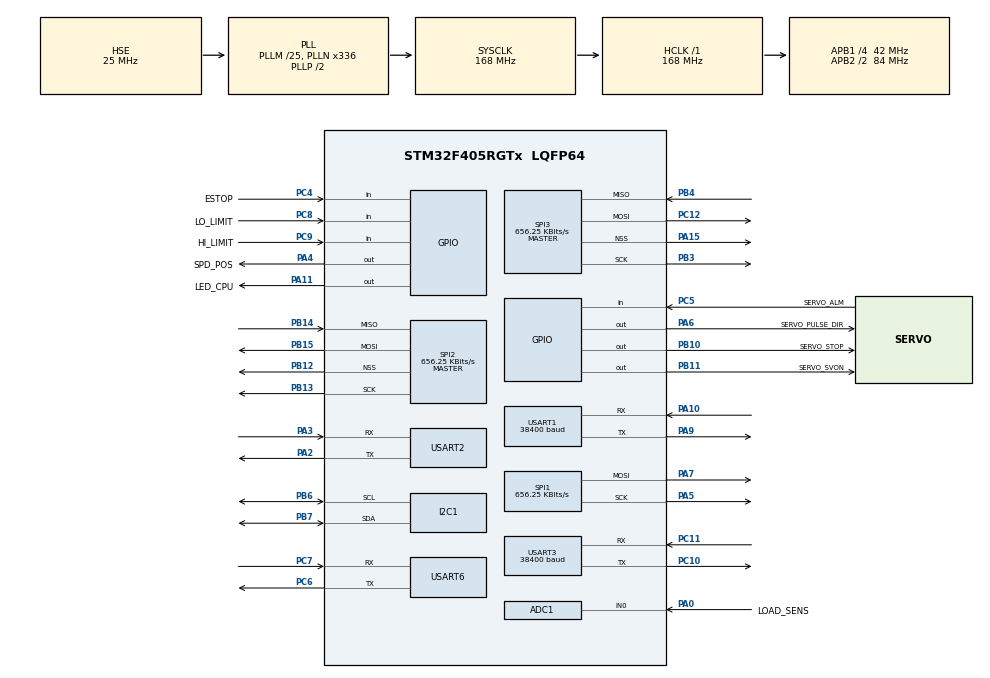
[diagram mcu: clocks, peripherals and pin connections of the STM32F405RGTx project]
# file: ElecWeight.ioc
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ADC1.Channel-100\#ChannelRegularConversion=ADC_CHANNEL_0
ADC1.Channel-101\#ChannelInjectedConversion=ADC_CHANNEL_0
ADC1.ClockPrescaler=ADC_CLOCK_SYNC_PCLK_DIV4
ADC1.ContinuousConvMode=ENABLE
ADC1.DMAContinuousRequests=DISABLE
ADC1.DataAlign=ADC_DATAALIGN_RIGHT
ADC1.DiscontinuousConvMode=DISABLE
ADC1.EOCSelection=ADC_EOC_SINGLE_CONV
ADC1.EnableAnalogWatchDog=false
ADC1.ExternalTrigConv=ADC_SOFTWARE_START
ADC1.ExternalTrigConvEdge=ADC_EXTERNALTRIGCONVEDGE_NONE
ADC1.ExternalTrigInjecConv=ADC_INJECTED_SOFTWARE_START
ADC1.ExternalTrigInjecConvEdge=ADC_EXTERNALTRIGINJECCONVEDGE_NONE
ADC1.InjNumberOfConversion=1
ADC1.InjectedConvMode=None
ADC1.InjectedOffset-101\#ChannelInjectedConversion=0
ADC1.NbrOfConversion=1
ADC1.NbrOfConversionFlag=1
ADC1.Rank-100\#ChannelRegularConversion=1
ADC1.Rank-101\#ChannelInjectedConversion=1
ADC1.Resolution=ADC_RESOLUTION_12B
ADC1.SamplingTime-100\#ChannelRegularConversion=ADC_SAMPLETIME_3CYCLES
ADC1.SamplingTime-101\#ChannelInjectedConversion=ADC_SAMPLETIME_3CYCLES
ADC1.ScanConvMode=ENABLE
ADC1.master=1
Dma.Request0=USART1_TX
Dma.Request1=USART2_TX
Dma.Request2=USART3_TX
Dma.Request3=SPI3_RX
Dma.Request4=SPI3_TX
Dma.SPI3_RX.3.Direction=DMA_PERIPH_TO_MEMORY
Dma.SPI3_RX.3.FIFOMode=DMA_FIFOMODE_DISABLE
Dma.SPI3_RX.3.Instance=DMA1_Stream0
Dma.SPI3_RX.3.MemDataAlignment=DMA_MDATAALIGN_BYTE
Dma.SPI3_RX.3.MemInc=DMA_MINC_ENABLE
Dma.SPI3_RX.3.Mode=DMA_NORMAL
Dma.SPI3_RX.3.PeriphDataAlignment=DMA_PDATAALIGN_BYTE
Dma.SPI3_RX.3.PeriphInc=DMA_PINC_DISABLE
Dma.SPI3_RX.3.Priority=DMA_PRIORITY_LOW
Dma.SPI3_TX.4.Direction=DMA_MEMORY_TO_PERIPH
Dma.SPI3_TX.4.FIFOMode=DMA_FIFOMODE_DISABLE
Dma.SPI3_TX.4.Instance=DMA1_Stream5
Dma.SPI3_TX.4.MemDataAlignment=DMA_MDATAALIGN_BYTE
Dma.SPI3_TX.4.MemInc=DMA_MINC_ENABLE
Dma.SPI3_TX.4.Mode=DMA_NORMAL
Dma.SPI3_TX.4.PeriphDataAlignment=DMA_PDATAALIGN_BYTE
Dma.SPI3_TX.4.PeriphInc=DMA_PINC_DISABLE
Dma.SPI3_TX.4.Priority=DMA_PRIORITY_LOW
Dma.USART1_TX.0.Direction=DMA_MEMORY_TO_PERIPH
Dma.USART1_TX.0.FIFOMode=DMA_FIFOMODE_DISABLE
Dma.USART1_TX.0.Instance=DMA2_Stream7
Dma.USART1_TX.0.MemDataAlignment=DMA_MDATAALIGN_BYTE
Dma.USART1_TX.0.MemInc=DMA_MINC_ENABLE
Dma.USART1_TX.0.Mode=DMA_NORMAL
Dma.USART1_TX.0.PeriphDataAlignment=DMA_PDATAALIGN_BYTE
Dma.USART1_TX.0.PeriphInc=DMA_PINC_DISABLE
Dma.USART1_TX.0.Priority=DMA_PRIORITY_LOW
Dma.USART2_TX.1.Direction=DMA_MEMORY_TO_PERIPH
Dma.USART2_TX.1.FIFOMode=DMA_FIFOMODE_DISABLE
Dma.USART2_TX.1.Instance=DMA1_Stream6
Dma.USART2_TX.1.MemDataAlignment=DMA_MDATAALIGN_BYTE
Dma.USART2_TX.1.MemInc=DMA_MINC_ENABLE
Dma.USART2_TX.1.Mode=DMA_NORMAL
Dma.USART2_TX.1.PeriphDataAlignment=DMA_PDATAALIGN_BYTE
Dma.USART2_TX.1.PeriphInc=DMA_PINC_DISABLE
Dma.USART2_TX.1.Priority=DMA_PRIORITY_LOW
Dma.USART3_TX.2.Direction=DMA_MEMORY_TO_PERIPH
Dma.USART3_TX.2.FIFOMode=DMA_FIFOMODE_DISABLE
Dma.USART3_TX.2.Instance=DMA1_Stream3
Dma.USART3_TX.2.MemDataAlignment=DMA_MDATAALIGN_BYTE
Dma.USART3_TX.2.MemInc=DMA_MINC_ENABLE
Dma.USART3_TX.2.Mode=DMA_NORMAL
Dma.USART3_TX.2.PeriphDataAlignment=DMA_PDATAALIGN_BYTE
Dma.USART3_TX.2.PeriphInc=DMA_PINC_DISABLE
Dma.USART3_TX.2.Priority=DMA_PRIORITY_LOW
Mcu.Family=STM32F4
Mcu.Name=STM32F405RGTx
Mcu.Package=LQFP64
Mcu.UserConstants=TIM_50USEC,50;TIM_1000USEC,1000;TIM_CLOCK,84
NVIC.ADC_IRQn=true\:3\:0\:true\:false\:true\:true
NVIC.DMA1_Stream0_IRQn=true\:0\:0\:false\:false\:true\:false
NVIC.DMA1_Stream3_IRQn=true\:0\:0\:false\:false\:true\:false
NVIC.DMA1_Stream5_IRQn=true\:0\:0\:false\:false\:true\:false
NVIC.DMA1_Stream6_IRQn=true\:0\:0\:false\:false\:true\:false
NVIC.DMA2_Stream7_IRQn=true\:0\:0\:false\:false\:true\:false
NVIC.PriorityGroup=NVIC_PRIORITYGROUP_4
NVIC.SPI2_IRQn=true\:3\:0\:true\:true\:true\:3\:true
NVIC.TIM2_IRQn=true\:2\:0\:true\:false\:true\:true
NVIC.TIM3_IRQn=true\:0\:0\:true\:false\:true\:true
NVIC.USART1_IRQn=true\:1\:0\:true\:true\:true\:2\:true
NVIC.USART2_IRQn=true\:1\:0\:true\:true\:true\:1\:true
PA0-WKUP.GPIO_Label=LOAD_SENS
PA0-WKUP.Signal=ADCx_IN0
PA10.Mode=Asynchronous
PA10.Signal=USART1_RX
PA11.GPIO_Label=LED_CPU
PA11.GPIO_ModeDefaultOutputPP=GPIO_MODE_OUTPUT_OD
PA11.Signal=GPIO_Output
PA13.Mode=Serial_Wire
PA13.Signal=SYS_JTMS-SWDIO
PA14.Mode=Serial_Wire
PA14.Signal=SYS_JTCK-SWCLK
PA15.GPIO_Speed=GPIO_SPEED_FREQ_LOW
PA15.Mode=NSS_Signal_Hard_Output
PA15.Signal=SPI3_NSS
PA2.Mode=Asynchronous
PA2.Signal=USART2_TX
PA3.Mode=Asynchronous
PA3.Signal=USART2_RX
PA4.GPIO_Label=SPD_POS
PA4.Signal=GPIO_Output
PA5.Mode=TX_Only_Simplex_Unidirect_Master
PA5.Signal=SPI1_SCK
PA6.GPIO_Label=SERVO_PULSE_DIR
PA6.Signal=GPIO_Output
PA7.Mode=TX_Only_Simplex_Unidirect_Master
PA7.Signal=SPI1_MOSI
PA9.Mode=Asynchronous
PA9.Signal=USART1_TX
PB10.GPIO_Label=SERVO_STOP
PB10.Signal=GPIO_Output
PB11.GPIO_Label=SERVO_SVON
PB11.Signal=GPIO_Output
PB12.GPIO_Speed=GPIO_SPEED_FREQ_LOW
PB12.Mode=NSS_Signal_Hard_Output
PB12.Signal=SPI2_NSS
PB13.GPIO_Speed=GPIO_SPEED_FREQ_LOW
PB13.Mode=Full_Duplex_Master
PB13.Signal=SPI2_SCK
PB14.GPIO_Speed=GPIO_SPEED_FREQ_LOW
PB14.Mode=Full_Duplex_Master
PB14.Signal=SPI2_MISO
PB15.GPIO_Speed=GPIO_SPEED_FREQ_LOW
PB15.Mode=Full_Duplex_Master
PB15.Signal=SPI2_MOSI
PB3.GPIO_Speed=GPIO_SPEED_FREQ_LOW
PB3.Mode=Full_Duplex_Master
PB3.Signal=SPI3_SCK
PB4.GPIO_Speed=GPIO_SPEED_FREQ_LOW
PB4.Mode=Full_Duplex_Master
PB4.Signal=SPI3_MISO
PB6.Mode=I2C
PB6.Signal=I2C1_SCL
PB7.Mode=I2C
PB7.Signal=I2C1_SDA
PC10.Mode=Asynchronous
PC10.Signal=USART3_TX
PC11.Mode=Asynchronous
PC11.Signal=USART3_RX
PC12.GPIO_Speed=GPIO_SPEED_FREQ_LOW
PC12.Mode=Full_Duplex_Master
PC12.Signal=SPI3_MOSI
PC4.GPIO_Label=ESTOP
PC4.Signal=GPIO_Input
PC5.GPIO_Label=SERVO_ALM
PC5.Signal=GPIO_Input
PC6.Mode=Asynchronous
PC6.Signal=USART6_TX
PC7.Mode=Asynchronous
PC7.Signal=USART6_RX
PC8.GPIO_Label=LO_LIMIT
PC8.Signal=GPIO_Input
PC9.GPIO_Label=HI_LIMIT
PC9.Signal=GPIO_Input
PH0-OSC_IN.Mode=HSE-External-Oscillator
PH0-OSC_IN.Signal=RCC_OSC_IN
PH1-OSC_OUT.Mode=HSE-External-Oscillator
PH1-OSC_OUT.Signal=RCC_OSC_OUT
ProjectManager.HeapSize=0x200
ProjectManager.StackSize=0x400
ProjectManager.TargetToolchain=EWARM
RCC.48MHZClocksFreq_Value=84000000
RCC.AHBFreq_Value=168000000
RCC.APB1CLKDivider=RCC_HCLK_DIV4
RCC.APB1Freq_Value=42000000
RCC.APB1TimFreq_Value=84000000
RCC.APB2CLKDivider=RCC_HCLK_DIV2
RCC.APB2Freq_Value=84000000
RCC.APB2TimFreq_Value=168000000
RCC.CortexFreq_Value=168000000
RCC.FLatency=FLASH_LATENCY_5
RCC.HCLKFreq_Value=168000000
RCC.HSE_VALUE=25000000
RCC.HSI_VALUE=16000000
RCC.LSE_VALUE=32768
RCC.PLLM=25
RCC.PLLN=336
RCC.PLLSourceVirtual=RCC_PLLSOURCE_HSE
RCC.RCC_MCO1Source=RCC_MCO1SOURCE_PLLCLK
RCC.RCC_MCO2Source=RCC_MCO2SOURCE_HSE
RCC.RCC_MCODiv1=RCC_MCODIV_2
RCC.RCC_MCODiv2=RCC_MCODIV_5
RCC.SYSCLKFreq_VALUE=168000000
RCC.SYSCLKSource=RCC_SYSCLKSOURCE_PLLCLK
RCC.VCOOutputFreq_Value=336000000
SH.ADCx_IN0.0=ADC1_IN0,IN0
SPI1.BaudRatePrescaler=SPI_BAUDRATEPRESCALER_128
SPI1.CalculateBaudRate=656.25 KBits/s
SPI1.DataSize=SPI_DATASIZE_16BIT
SPI1.Direction=SPI_DIRECTION_2LINES
SPI1.Mode=SPI_MODE_MASTER
SPI1.VirtualType=VM_MASTER
SPI2.BaudRatePrescaler=SPI_BAUDRATEPRESCALER_64
SPI2.CalculateBaudRate=656.25 KBits/s
SPI2.Direction=SPI_DIRECTION_2LINES
SPI2.Mode=SPI_MODE_MASTER
SPI2.VirtualNSS=VM_NSSHARD
SPI2.VirtualType=VM_MASTER
SPI3.BaudRatePrescaler=SPI_BAUDRATEPRESCALER_64
SPI3.CalculateBaudRate=656.25 KBits/s
SPI3.Direction=SPI_DIRECTION_2LINES
SPI3.Mode=SPI_MODE_MASTER
SPI3.VirtualNSS=VM_NSSHARD
SPI3.VirtualType=VM_MASTER
TIM2.Period=TIM_1000USEC-1
TIM2.Prescaler=TIM_CLOCK
TIM3.Period=TIM_50USEC-1
TIM3.Prescaler=TIM_CLOCK
USART1.BaudRate=38400
USART1.Mode=MODE_TX_RX
USART1.VirtualMode=VM_ASYNC
USART2.VirtualMode=VM_ASYNC
USART3.BaudRate=38400
USART3.Mode=MODE_TX
USART3.VirtualMode=VM_ASYNC
USART6.VirtualMode=VM_ASYNC
VP_IWDG_VS_IWDG.Mode=IWDG_Activate
VP_TIM2_VS_ClockSourceINT.Mode=Internal
VP_TIM3_VS_ClockSourceINT.Mode=Internal
board=ElecWeight

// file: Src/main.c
/**
  ******************************************************************************
  * File Name          : main.c
  * Description        : Main program body
  ******************************************************************************
  ** This notice applies to any and all portions of this file
  * that are not between comment pairs USER CODE BEGIN and
  * USER CODE END. Other portions of this file, whether
  * inserted by the user or by software development tools
  * are owned by their respective copyright owners.
  *
  * COPYRIGHT(c) 2018 STMicroelectronics
  *
  * Redistribution and use in source and binary forms, with or without modification,
  * are permitted provided that the following conditions are met:
  *   1. Redistributions of source code must retain the above copyright notice,
  *      this list of conditions and the following disclaimer.
  *   2. Redistributions in binary form must reproduce the above copyright notice,
  *      this list of conditions and the following disclaimer in the documentation
  *      and/or other materials provided with the distribution.
  *   3. Neither the name of STMicroelectronics nor the names of its contributors
  *      may be used to endorse or promote products derived from this software
  *      without specific prior written permission.
  *
  * THIS SOFTWARE IS PROVIDED BY THE COPYRIGHT HOLDERS AND CONTRIBUTORS "AS IS"
  * AND ANY EXPRESS OR IMPLIED WARRANTIES, INCLUDING, BUT NOT LIMITED TO, THE
  * IMPLIED WARRANTIES OF MERCHANTABILITY AND FITNESS FOR A PARTICULAR PURPOSE ARE
  * DISCLAIMED. IN NO EVENT SHALL THE COPYRIGHT HOLDER OR CONTRIBUTORS BE LIABLE
  * FOR ANY DIRECT, INDIRECT, INCIDENTAL, SPECIAL, EXEMPLARY, OR CONSEQUENTIAL
  * DAMAGES (INCLUDING, BUT NOT LIMITED TO, PROCUREMENT OF SUBSTITUTE GOODS OR
  * SERVICES; LOSS OF USE, DATA, OR PROFITS; OR BUSINESS INTERRUPTION) HOWEVER
  * CAUSED AND ON ANY THEORY OF LIABILITY, WHETHER IN CONTRACT, STRICT LIABILITY,
  * OR TORT (INCLUDING NEGLIGENCE OR OTHERWISE) ARISING IN ANY WAY OUT OF THE USE
  * OF THIS SOFTWARE, EVEN IF ADVISED OF THE POSSIBILITY OF SUCH DAMAGE.
  *
  ******************************************************************************
  */
#include "main.h"
#include "stm32f4xx_hal.h"

/* USER CODE BEGIN Includes */
#include "stdlib.h"
#include "limits.h"
#include "mydefs.h"
#include "comm_USART.h"
#include "IO_LIB.h"
#include "TIK_CON.h"
#include "Isokinetic.h"
#include "LoadSensor.h"
#include "PosSensor.h"
#include "ServoControl.H"
#include "DataConv.h"
#include "EQUIPMENT.H"
#include "commModbusRTU.h"

/* USER CODE END Includes */

ADC_HandleTypeDef hadc1;

I2C_HandleTypeDef hi2c1;

IWDG_HandleTypeDef hiwdg;

SPI_HandleTypeDef hspi1;
SPI_HandleTypeDef hspi2;
SPI_HandleTypeDef hspi3;
DMA_HandleTypeDef hdma_spi3_rx;
DMA_HandleTypeDef hdma_spi3_tx;

TIM_HandleTypeDef htim2;
TIM_HandleTypeDef htim3;

UART_HandleTypeDef huart1;
UART_HandleTypeDef huart2;
UART_HandleTypeDef huart3;
UART_HandleTypeDef huart6;
DMA_HandleTypeDef hdma_usart1_tx;
DMA_HandleTypeDef hdma_usart2_tx;
DMA_HandleTypeDef hdma_usart3_tx;

/* USER CODE BEGIN PV */
/* Private variables ---------------------------------------------------------*/
BOOL	fInt_Scheduler;
BOOL	f2msecTick;
BOOL	f5msecTick;
BOOL	f10msecTick;
BOOL	fLEDToggleTick;

BOOL	t50usecToggle;
BOOL	fForceCalcTick;
BOOL	fAdcConv;

BYTE b5msCnt;
int		iLEDTogglCnt = TIM_500MSEC;
int		iCPUTick1msecCnt;
BYTE Uart3_txBuff[7];
BYTE Spi2_txBuff[10];
BYTE Spi2_rxBuff[10];

UINT lPulseCnt;
BYTE tempData=4;
BYTE bAlmRstCnt;
int iUsart1IrqCnt;
BYTE bSpiData[2]={0x55,0x55};
//uint16_t ADCValue; //ADC Readings
static BYTE hyperBuffIndex;

/* USER CODE END PV */

void SystemClock_Config(void);
static void MX_GPIO_Init(void);
static void MX_DMA_Init(void);
static void MX_I2C1_Init(void);
static void MX_IWDG_Init(void);
static void MX_SPI1_Init(void);
static void MX_USART1_UART_Init(void);
static void MX_USART2_UART_Init(void);
static void MX_USART6_UART_Init(void);
static void MX_ADC1_Init(void);
static void MX_SPI2_Init(void);
static void MX_TIM2_Init(void);
static void MX_TIM3_Init(void);
static void MX_USART3_UART_Init(void);
static void MX_SPI3_Init(void);
static void MX_NVIC_Init(void);

/* USER CODE BEGIN PFP */
/* Private function prototypes -----------------------------------------------*/
void VariableInit(void);
void makeTimeTick(void);
void SensorProc(void);
void outServoPulse( void );
void SystemIOProcess(void);
int Pulse_Out(ULONG lPulseNum);
void Isr_System_HyperTerm(BYTE tmpChar);
void Isr_Uart1(BYTE tmpChar);
/* USER CODE END PFP */

/* USER CODE BEGIN 0 */
void HAL_TIM_PeriodElapsedCallback(TIM_HandleTypeDef *htim)
{
//	int iPulseOut;
	if (htim->Instance == TIM2)	{		// 1msec
		fInt_Scheduler = TRUE;
//		CPU_LEDOff();
//		HAL_SPI_Transmit(&hspi1,bSpiData,1,0);
//		CPU_LEDOn();

//		wSpiData = 0x5555;
//		CPU_LEDToggle();
	}
	if (htim->Instance == TIM3)	{		// 50usec
		if (t50usecToggle == 1) {
			t50usecToggle = 0;
//			iPulseOut = Pulse_Out(tempData);
//			HAL_ADC_Start(&hadc1);
			getLoadData() ;
//			outServoPulse();
		}
		else {
			t50usecToggle = 1;
//			ADC_Value = HAL_ADC_GetValue(&hadc1);
		}
		outServoPulse();

	}

}

void HAL_UART_RxCpltCallback(UART_HandleTypeDef *huart)
{
	BYTE tmpChar;
	if (huart->Instance == USART1) {
		tmpChar = Uart1_rxBuff[Uart1_rxBuffIndex];
		Isr_Uart1(tmpChar);
		HAL_UART_Receive_IT(huart, Uart1_rxBuff+Uart1_rxBuffIndex, 1);
	}
	if (huart->Instance == USART2) {
		tmpChar = Uart2_rxBuff[Uart2_rxBuffIndex];
		if (CommPCMode == HYPER_TERMINAL )
			Isr_System_HyperTerm(tmpChar);
		else {
			if (Uart2_rxBuff[Uart2_rxBuffIndex] == ENQ) {
				Uart2_rxBuffIndex = 0;
			}
			else if (Uart2_rxBuff[Uart6_rxBuffIndex] != EOT) {
				Uart2_rxBuffIndex++;
			}
			else {
				if (Uart2_rxBuffIndex == 0)
				{
					if (hyperBuffIndex) {
						hyperBuffIndex = RESET;
						if (tmpChar == 't' )
							CommPCMode = HYPER_TERMINAL ;
					}
					else if (tmpChar == 'h' )
						hyperBuffIndex = SET;
				}
				else
				{
					Uart2_rxBuff[Uart2_rxBuffIndex] = tmpChar;	// 수신 데이터를 버퍼에 저장
					Uart2_rxBuffIndex++;
				}
				fUart2Received = SET;
				Uart2_rxBuffSize = Uart2_rxBuffIndex;
				Uart2_rxBuffIndex = 0;
			}
		}
		HAL_UART_Receive_IT(huart, Uart2_rxBuff+Uart2_rxBuffIndex, 1);
	}
}

void HAL_UART_TxCpltCallback(UART_HandleTypeDef *huart)
{
	if (huart->Instance == USART1) {
		iUsart1IrqCnt++;
	}
}
void HAL_ADC_ConvCpltCallback(ADC_HandleTypeDef* hadc)
{
	fAdcConv = SET;
//	ADC_Value = HAL_ADC_GetValue(&hadc1);
//	HAL_ADC_Start_IT(&hadc1);

}

/* USER CODE END 0 */

int main(void)
{

  /* USER CODE BEGIN 1 */
BOOL fCheck;
  /* USER CODE END 1 */

  /* MCU Configuration----------------------------------------------------------*/

  /* Reset of all peripherals, Initializes the Flash interface and the Systick. */
  HAL_Init();

  /* Configure the system clock */
  SystemClock_Config();

  /* Initialize all configured peripherals */
  MX_GPIO_Init();
  MX_DMA_Init();
  MX_I2C1_Init();
  MX_IWDG_Init();
  MX_SPI1_Init();
  MX_USART1_UART_Init();
  MX_USART2_UART_Init();
  MX_USART6_UART_Init();
  MX_ADC1_Init();
  MX_SPI2_Init();
  MX_TIM2_Init();
  MX_TIM3_Init();
  MX_USART3_UART_Init();
  MX_SPI3_Init();

  /* Initialize interrupts */
  MX_NVIC_Init();

  /* USER CODE BEGIN 2 */
//  HAL_NVIC_DisableIRQ(DMA1_Stream4_IRQn);	// Code Generation에서 자동으로 DMA 인터럽트를 Enable하므로 수동으로 다시 Disable
//  HAL_NVIC_DisableIRQ(DMA1_Stream3_IRQn);	// Code Generation에서 자동으로 DMA 인터럽트를 Enable하므로 수동으로 다시 Disable
//  HAL_NVIC_DisableIRQ(TIM2_IRQn);	// Code Generation에서 자동으로 DMA 인터럽트를 Enable하므로 수동으로 다시 Disable
//  HAL_NVIC_DisableIRQ(TIM3_IRQn);	// Code Generation에서 자동으로 DMA 인터럽트를 Enable하므로 수동으로 다시 Disable
//	int1msecTickOffset = HAL_GetTick();
//		  	HAL_ADC_Start_DMA(&hadc, (uint32_t*) ADCReadings, 3);
	HAL_TIM_Base_Start_IT(&htim2);
	HAL_TIM_Base_Start_IT(&htim3);
	HAL_UART_Receive_IT(&huart1, Uart1_rxBuff, 1);
	HAL_UART_Receive_IT(&huart2, Uart2_rxBuff, 1);
	HAL_NVIC_EnableIRQ(ADC_IRQn);
	HAL_ADC_Start_IT(&hadc1);

	VariableInit();
//	lServoPulseAddCnt = 800;
  /* USER CODE END 2 */

  /* Infinite loop */
  /* USER CODE BEGIN WHILE */
  while (1)
  {
	  //	SensorProc();
//		CPU_LEDToggle();
	if (fInt_Scheduler == TRUE) {
		fInt_Scheduler = FALSE;

		Scheduler();
//		getPosData();
		makeTimeTick();
		LoadDataCollect() ;
		SystemIOProcess();

  	}
	if (fCheck == SET) {
		fCheck = RESET;
		HAL_SPI_Abort(&hspi1);
	}

	if (fAdcConv == SET) {
		fAdcConv = RESET;
		ADC_Value = HAL_ADC_GetValue(&hadc1);
		HAL_ADC_Start_IT(&hadc1);
	}

	ConsoleProcess();

	if (f5msecTick) {
		f5msecTick = RESET;
		ServoOperationControl();
//		SensorProc();
		b5msCnt++;
		switch ( b5msCnt)
		{
			case 1 :
				SensorAmpControl(Uart3_txBuff);
				Uart3_TransmitStart(Uart3_txBuff, 7);
				break;

			case 2 :
				SensorCal() ;
				break;

			case 3:
				PosSensorProc(Spi2_rxBuff);	// Position Sensor Data Read
				HAL_SPI_TransmitReceive_IT(&hspi2, Spi2_txBuff, Spi2_rxBuff, 10);	// SPI Pos sensor drive
				break;
			case 4:
				debugOut();
				b5msCnt=0;
				break;
		}

	}

	if (fForceCalcTick)
	{
		fForceCalcTick =RESET;
		conv_angle_Force_Torque ();
	}

	if (f10msecTick) {
		f10msecTick = RESET;
		if (Cnt10msec < MAX_LOGGING_NUM) {
			UpdateLoggingData(Cnt10msec);
			Cnt10msec++;
		}

		if (CommPCMode == PC_PROGRAM ) {
			if (bPCCommFailCnt < PC_COMM_FAIL_LIMIT	) {
				bPCCommFailCnt++;
			}
			else
				FPCCommFail = SET;
		}
		else
			FPCCommFail = RESET;

	}
	if (fLEDToggleTick) {
		fLEDToggleTick = RESET;
		CPU_LEDToggle();
	}
  /* USER CODE END WHILE */

  /* USER CODE BEGIN 3 */
	HAL_IWDG_Refresh(&hiwdg);

  }
  /* USER CODE END 3 */

}

/** System Clock Configuration
*/
void SystemClock_Config(void)
{

  RCC_OscInitTypeDef RCC_OscInitStruct;
  RCC_ClkInitTypeDef RCC_ClkInitStruct;

    /**Configure the main internal regulator output voltage
    */
  __HAL_RCC_PWR_CLK_ENABLE();

  __HAL_PWR_VOLTAGESCALING_CONFIG(PWR_REGULATOR_VOLTAGE_SCALE1);

    /**Initializes the CPU, AHB and APB busses clocks
    */
  RCC_OscInitStruct.OscillatorType = RCC_OSCILLATORTYPE_LSI|RCC_OSCILLATORTYPE_HSE;
  RCC_OscInitStruct.HSEState = RCC_HSE_ON;
  RCC_OscInitStruct.LSIState = RCC_LSI_ON;
  RCC_OscInitStruct.PLL.PLLState = RCC_PLL_ON;
  RCC_OscInitStruct.PLL.PLLSource = RCC_PLLSOURCE_HSE;
  RCC_OscInitStruct.PLL.PLLM = 25;
  RCC_OscInitStruct.PLL.PLLN = 336;
  RCC_OscInitStruct.PLL.PLLP = RCC_PLLP_DIV2;
  RCC_OscInitStruct.PLL.PLLQ = 4;
  if (HAL_RCC_OscConfig(&RCC_OscInitStruct) != HAL_OK)
  {
    _Error_Handler(__FILE__, __LINE__);
  }

    /**Initializes the CPU, AHB and APB busses clocks
    */
  RCC_ClkInitStruct.ClockType = RCC_CLOCKTYPE_HCLK|RCC_CLOCKTYPE_SYSCLK
                              |RCC_CLOCKTYPE_PCLK1|RCC_CLOCKTYPE_PCLK2;
  RCC_ClkInitStruct.SYSCLKSource = RCC_SYSCLKSOURCE_PLLCLK;
  RCC_ClkInitStruct.AHBCLKDivider = RCC_SYSCLK_DIV1;
  RCC_ClkInitStruct.APB1CLKDivider = RCC_HCLK_DIV4;
  RCC_ClkInitStruct.APB2CLKDivider = RCC_HCLK_DIV2;

  if (HAL_RCC_ClockConfig(&RCC_ClkInitStruct, FLASH_LATENCY_5) != HAL_OK)
  {
    _Error_Handler(__FILE__, __LINE__);
  }

    /**Configure the Systick interrupt time
    */
  HAL_SYSTICK_Config(HAL_RCC_GetHCLKFreq()/1000);

    /**Configure the Systick
    */
  HAL_SYSTICK_CLKSourceConfig(SYSTICK_CLKSOURCE_HCLK);

  /* SysTick_IRQn interrupt configuration */
  HAL_NVIC_SetPriority(SysTick_IRQn, 0, 0);
}

/** NVIC Configuration
*/
static void MX_NVIC_Init(void)
{
  /* USART2_IRQn interrupt configuration */
  HAL_NVIC_SetPriority(USART2_IRQn, 1, 0);
  HAL_NVIC_EnableIRQ(USART2_IRQn);
  /* USART1_IRQn interrupt configuration */
  HAL_NVIC_SetPriority(USART1_IRQn, 1, 0);
  HAL_NVIC_EnableIRQ(USART1_IRQn);
  /* SPI2_IRQn interrupt configuration */
  HAL_NVIC_SetPriority(SPI2_IRQn, 3, 0);
  HAL_NVIC_EnableIRQ(SPI2_IRQn);
}

/* ADC1 init function */
static void MX_ADC1_Init(void)
{

  ADC_ChannelConfTypeDef sConfig;
  ADC_InjectionConfTypeDef sConfigInjected;

    /**Configure the global features of the ADC (Clock, Resolution, Data Alignment and number of conversion)
    */
  hadc1.Instance = ADC1;
  hadc1.Init.ClockPrescaler = ADC_CLOCK_SYNC_PCLK_DIV4;
  hadc1.Init.Resolution = ADC_RESOLUTION_12B;
  hadc1.Init.ScanConvMode = ENABLE;
  hadc1.Init.ContinuousConvMode = ENABLE;
  hadc1.Init.DiscontinuousConvMode = DISABLE;
  hadc1.Init.ExternalTrigConvEdge = ADC_EXTERNALTRIGCONVEDGE_NONE;
  hadc1.Init.ExternalTrigConv = ADC_SOFTWARE_START;
  hadc1.Init.DataAlign = ADC_DATAALIGN_RIGHT;
  hadc1.Init.NbrOfConversion = 1;
  hadc1.Init.DMAContinuousRequests = DISABLE;
  hadc1.Init.EOCSelection = ADC_EOC_SINGLE_CONV;
  if (HAL_ADC_Init(&hadc1) != HAL_OK)
  {
    _Error_Handler(__FILE__, __LINE__);
  }

    /**Configure for the selected ADC regular channel its corresponding rank in the sequencer and its sample time.
    */
  sConfig.Channel = ADC_CHANNEL_0;
  sConfig.Rank = 1;
  sConfig.SamplingTime = ADC_SAMPLETIME_3CYCLES;
  if (HAL_ADC_ConfigChannel(&hadc1, &sConfig) != HAL_OK)
  {
    _Error_Handler(__FILE__, __LINE__);
  }

    /**Configures for the selected ADC injected channel its corresponding rank in the sequencer and its sample time
    */
  sConfigInjected.InjectedChannel = ADC_CHANNEL_0;
  sConfigInjected.InjectedRank = 1;
  sConfigInjected.InjectedNbrOfConversion = 1;
  sConfigInjected.InjectedSamplingTime = ADC_SAMPLETIME_3CYCLES;
  sConfigInjected.ExternalTrigInjecConvEdge = ADC_EXTERNALTRIGINJECCONVEDGE_NONE;
  sConfigInjected.ExternalTrigInjecConv = ADC_INJECTED_SOFTWARE_START;
  sConfigInjected.AutoInjectedConv = DISABLE;
  sConfigInjected.InjectedDiscontinuousConvMode = DISABLE;
  sConfigInjected.InjectedOffset = 0;
  if (HAL_ADCEx_InjectedConfigChannel(&hadc1, &sConfigInjected) != HAL_OK)
  {
    _Error_Handler(__FILE__, __LINE__);
  }

}

/* I2C1 init function */
static void MX_I2C1_Init(void)
{

  hi2c1.Instance = I2C1;
  hi2c1.Init.ClockSpeed = 100000;
  hi2c1.Init.DutyCycle = I2C_DUTYCYCLE_2;
  hi2c1.Init.OwnAddress1 = 0;
  hi2c1.Init.AddressingMode = I2C_ADDRESSINGMODE_7BIT;
  hi2c1.Init.DualAddressMode = I2C_DUALADDRESS_DISABLE;
  hi2c1.Init.OwnAddress2 = 0;
  hi2c1.Init.GeneralCallMode = I2C_GENERALCALL_DISABLE;
  hi2c1.Init.NoStretchMode = I2C_NOSTRETCH_DISABLE;
  if (HAL_I2C_Init(&hi2c1) != HAL_OK)
  {
    _Error_Handler(__FILE__, __LINE__);
  }

}

/* IWDG init function */
static void MX_IWDG_Init(void)
{

  hiwdg.Instance = IWDG;
  hiwdg.Init.Prescaler = IWDG_PRESCALER_4;
  hiwdg.Init.Reload = 4095;
  if (HAL_IWDG_Init(&hiwdg) != HAL_OK)
  {
    _Error_Handler(__FILE__, __LINE__);
  }

}

/* SPI1 init function */
static void MX_SPI1_Init(void)
{

  /* SPI1 parameter configuration*/
  hspi1.Instance = SPI1;
  hspi1.Init.Mode = SPI_MODE_MASTER;
  hspi1.Init.Direction = SPI_DIRECTION_2LINES;
  hspi1.Init.DataSize = SPI_DATASIZE_16BIT;
  hspi1.Init.CLKPolarity = SPI_POLARITY_LOW;
  hspi1.Init.CLKPhase = SPI_PHASE_1EDGE;
  hspi1.Init.NSS = SPI_NSS_SOFT;
  hspi1.Init.BaudRatePrescaler = SPI_BAUDRATEPRESCALER_128;
  hspi1.Init.FirstBit = SPI_FIRSTBIT_MSB;
  hspi1.Init.TIMode = SPI_TIMODE_DISABLE;
  hspi1.Init.CRCCalculation = SPI_CRCCALCULATION_DISABLE;
  hspi1.Init.CRCPolynomial = 10;
  if (HAL_SPI_Init(&hspi1) != HAL_OK)
  {
    _Error_Handler(__FILE__, __LINE__);
  }

}

/* SPI2 init function */
static void MX_SPI2_Init(void)
{

  /* SPI2 parameter configuration*/
  hspi2.Instance = SPI2;
  hspi2.Init.Mode = SPI_MODE_MASTER;
  hspi2.Init.Direction = SPI_DIRECTION_2LINES;
  hspi2.Init.DataSize = SPI_DATASIZE_8BIT;
  hspi2.Init.CLKPolarity = SPI_POLARITY_LOW;
  hspi2.Init.CLKPhase = SPI_PHASE_1EDGE;
  hspi2.Init.NSS = SPI_NSS_HARD_OUTPUT;
  hspi2.Init.BaudRatePrescaler = SPI_BAUDRATEPRESCALER_64;
  hspi2.Init.FirstBit = SPI_FIRSTBIT_MSB;
  hspi2.Init.TIMode = SPI_TIMODE_DISABLE;
  hspi2.Init.CRCCalculation = SPI_CRCCALCULATION_DISABLE;
  hspi2.Init.CRCPolynomial = 10;
  if (HAL_SPI_Init(&hspi2) != HAL_OK)
  {
    _Error_Handler(__FILE__, __LINE__);
  }

}

/* SPI3 init function */
static void MX_SPI3_Init(void)
{

  /* SPI3 parameter configuration*/
  hspi3.Instance = SPI3;
  hspi3.Init.Mode = SPI_MODE_MASTER;
  hspi3.Init.Direction = SPI_DIRECTION_2LINES;
  hspi3.Init.DataSize = SPI_DATASIZE_8BIT;
  hspi3.Init.CLKPolarity = SPI_POLARITY_LOW;
  hspi3.Init.CLKPhase = SPI_PHASE_1EDGE;
  hspi3.Init.NSS = SPI_NSS_HARD_OUTPUT;
  hspi3.Init.BaudRatePrescaler = SPI_BAUDRATEPRESCALER_64;
  hspi3.Init.FirstBit = SPI_FIRSTBIT_MSB;
  hspi3.Init.TIMode = SPI_TIMODE_DISABLE;
  hspi3.Init.CRCCalculation = SPI_CRCCALCULATION_DISABLE;
  hspi3.Init.CRCPolynomial = 10;
  if (HAL_SPI_Init(&hspi3) != HAL_OK)
  {
    _Error_Handler(__FILE__, __LINE__);
  }

}

/* TIM2 init function */
static void MX_TIM2_Init(void)
{

  TIM_ClockConfigTypeDef sClockSourceConfig;
  TIM_MasterConfigTypeDef sMasterConfig;

  htim2.Instance = TIM2;
  htim2.Init.Prescaler = TIM_CLOCK;
  htim2.Init.CounterMode = TIM_COUNTERMODE_UP;
  htim2.Init.Period = TIM_1000USEC-1;
  htim2.Init.ClockDivision = TIM_CLOCKDIVISION_DIV1;
  if (HAL_TIM_Base_Init(&htim2) != HAL_OK)
  {
    _Error_Handler(__FILE__, __LINE__);
  }

  sClockSourceConfig.ClockSource = TIM_CLOCKSOURCE_INTERNAL;
  if (HAL_TIM_ConfigClockSource(&htim2, &sClockSourceConfig) != HAL_OK)
  {
    _Error_Handler(__FILE__, __LINE__);
  }

  sMasterConfig.MasterOutputTrigger = TIM_TRGO_RESET;
  sMasterConfig.MasterSlaveMode = TIM_MASTERSLAVEMODE_DISABLE;
  if (HAL_TIMEx_MasterConfigSynchronization(&htim2, &sMasterConfig) != HAL_OK)
  {
    _Error_Handler(__FILE__, __LINE__);
  }

}

/* TIM3 init function */
static void MX_TIM3_Init(void)
{

  TIM_ClockConfigTypeDef sClockSourceConfig;
  TIM_MasterConfigTypeDef sMasterConfig;

  htim3.Instance = TIM3;
  htim3.Init.Prescaler = TIM_CLOCK;
  htim3.Init.CounterMode = TIM_COUNTERMODE_UP;
  htim3.Init.Period = TIM_50USEC-1;
  htim3.Init.ClockDivision = TIM_CLOCKDIVISION_DIV1;
  if (HAL_TIM_Base_Init(&htim3) != HAL_OK)
  {
    _Error_Handler(__FILE__, __LINE__);
  }

  sClockSourceConfig.ClockSource = TIM_CLOCKSOURCE_INTERNAL;
  if (HAL_TIM_ConfigClockSource(&htim3, &sClockSourceConfig) != HAL_OK)
  {
    _Error_Handler(__FILE__, __LINE__);
  }

  sMasterConfig.MasterOutputTrigger = TIM_TRGO_RESET;
  sMasterConfig.MasterSlaveMode = TIM_MASTERSLAVEMODE_DISABLE;
  if (HAL_TIMEx_MasterConfigSynchronization(&htim3, &sMasterConfig) != HAL_OK)
  {
    _Error_Handler(__FILE__, __LINE__);
  }

}

/* USART1 init function */
static void MX_USART1_UART_Init(void)
{

  huart1.Instance = USART1;
  huart1.Init.BaudRate = 38400;
  huart1.Init.WordLength = UART_WORDLENGTH_8B;
  huart1.Init.StopBits = UART_STOPBITS_1;
  huart1.Init.Parity = UART_PARITY_NONE;
  huart1.Init.Mode = UART_MODE_TX_RX;
  huart1.Init.HwFlowCtl = UART_HWCONTROL_NONE;
  huart1.Init.OverSampling = UART_OVERSAMPLING_16;
  if (HAL_UART_Init(&huart1) != HAL_OK)
  {
    _Error_Handler(__FILE__, __LINE__);
  }

}

/* USART2 init function */
static void MX_USART2_UART_Init(void)
{

  huart2.Instance = USART2;
  huart2.Init.BaudRate = 115200;
  huart2.Init.WordLength = UART_WORDLENGTH_8B;
  huart2.Init.StopBits = UART_STOPBITS_1;
  huart2.Init.Parity = UART_PARITY_NONE;
  huart2.Init.Mode = UART_MODE_TX_RX;
  huart2.Init.HwFlowCtl = UART_HWCONTROL_NONE;
  huart2.Init.OverSampling = UART_OVERSAMPLING_16;
  if (HAL_UART_Init(&huart2) != HAL_OK)
  {
    _Error_Handler(__FILE__, __LINE__);
  }

}

/* USART3 init function */
static void MX_USART3_UART_Init(void)
{

  huart3.Instance = USART3;
  huart3.Init.BaudRate = 38400;
  huart3.Init.WordLength = UART_WORDLENGTH_8B;
  huart3.Init.StopBits = UART_STOPBITS_1;
  huart3.Init.Parity = UART_PARITY_NONE;
  huart3.Init.Mode = UART_MODE_TX;
  huart3.Init.HwFlowCtl = UART_HWCONTROL_NONE;
  huart3.Init.OverSampling = UART_OVERSAMPLING_16;
  if (HAL_UART_Init(&huart3) != HAL_OK)
  {
    _Error_Handler(__FILE__, __LINE__);
  }

}

/* USART6 init function */
static void MX_USART6_UART_Init(void)
{

  huart6.Instance = USART6;
  huart6.Init.BaudRate = 115200;
  huart6.Init.WordLength = UART_WORDLENGTH_8B;
  huart6.Init.StopBits = UART_STOPBITS_1;
  huart6.Init.Parity = UART_PARITY_NONE;
  huart6.Init.Mode = UART_MODE_TX_RX;
  huart6.Init.HwFlowCtl = UART_HWCONTROL_NONE;
  huart6.Init.OverSampling = UART_OVERSAMPLING_16;
  if (HAL_UART_Init(&huart6) != HAL_OK)
  {
    _Error_Handler(__FILE__, __LINE__);
  }

}

static void MX_DMA_Init(void)
{
  /* DMA controller clock enable */
  __HAL_RCC_DMA2_CLK_ENABLE();
  __HAL_RCC_DMA1_CLK_ENABLE();

  /* DMA interrupt init */
  /* DMA1_Stream0_IRQn interrupt configuration */
  HAL_NVIC_SetPriority(DMA1_Stream0_IRQn, 0, 0);
  HAL_NVIC_EnableIRQ(DMA1_Stream0_IRQn);
  /* DMA1_Stream3_IRQn interrupt configuration */
  HAL_NVIC_SetPriority(DMA1_Stream3_IRQn, 0, 0);
  HAL_NVIC_EnableIRQ(DMA1_Stream3_IRQn);
  /* DMA1_Stream5_IRQn interrupt configuration */
  HAL_NVIC_SetPriority(DMA1_Stream5_IRQn, 0, 0);
  HAL_NVIC_EnableIRQ(DMA1_Stream5_IRQn);
  /* DMA1_Stream6_IRQn interrupt configuration */
  HAL_NVIC_SetPriority(DMA1_Stream6_IRQn, 0, 0);
  HAL_NVIC_EnableIRQ(DMA1_Stream6_IRQn);
  /* DMA2_Stream7_IRQn interrupt configuration */
  HAL_NVIC_SetPriority(DMA2_Stream7_IRQn, 0, 0);
  HAL_NVIC_EnableIRQ(DMA2_Stream7_IRQn);

}

/** Configure pins as
        * Analog
        * Input
        * Output
        * EVENT_OUT
        * EXTI
*/
static void MX_GPIO_Init(void)
{

  GPIO_InitTypeDef GPIO_InitStruct;

  /* GPIO Ports Clock Enable */
  __HAL_RCC_GPIOH_CLK_ENABLE();
  __HAL_RCC_GPIOA_CLK_ENABLE();
  __HAL_RCC_GPIOC_CLK_ENABLE();
  __HAL_RCC_GPIOB_CLK_ENABLE();

  /*Configure GPIO pin Output Level */
  HAL_GPIO_WritePin(GPIOA, SPD_POS_Pin|SERVO_PULSE_DIR_Pin|LED_CPU_Pin, GPIO_PIN_RESET);

  /*Configure GPIO pin Output Level */
  HAL_GPIO_WritePin(GPIOB, SERVO_STOP_Pin|SERVO_SVON_Pin, GPIO_PIN_RESET);

  /*Configure GPIO pins : SPD_POS_Pin SERVO_PULSE_DIR_Pin */
  GPIO_InitStruct.Pin = SPD_POS_Pin|SERVO_PULSE_DIR_Pin;
  GPIO_InitStruct.Mode = GPIO_MODE_OUTPUT_PP;
  GPIO_InitStruct.Pull = GPIO_NOPULL;
  GPIO_InitStruct.Speed = GPIO_SPEED_FREQ_LOW;
  HAL_GPIO_Init(GPIOA, &GPIO_InitStruct);

  /*Configure GPIO pins : ESTOP_Pin SERVO_ALM_Pin LO_LIMIT_Pin HI_LIMIT_Pin */
  GPIO_InitStruct.Pin = ESTOP_Pin|SERVO_ALM_Pin|LO_LIMIT_Pin|HI_LIMIT_Pin;
  GPIO_InitStruct.Mode = GPIO_MODE_INPUT;
  GPIO_InitStruct.Pull = GPIO_NOPULL;
  HAL_GPIO_Init(GPIOC, &GPIO_InitStruct);

  /*Configure GPIO pins : SERVO_STOP_Pin SERVO_SVON_Pin */
  GPIO_InitStruct.Pin = SERVO_STOP_Pin|SERVO_SVON_Pin;
  GPIO_InitStruct.Mode = GPIO_MODE_OUTPUT_PP;
  GPIO_InitStruct.Pull = GPIO_NOPULL;
  GPIO_InitStruct.Speed = GPIO_SPEED_FREQ_LOW;
  HAL_GPIO_Init(GPIOB, &GPIO_InitStruct);

  /*Configure GPIO pin : LED_CPU_Pin */
  GPIO_InitStruct.Pin = LED_CPU_Pin;
  GPIO_InitStruct.Mode = GPIO_MODE_OUTPUT_OD;
  GPIO_InitStruct.Pull = GPIO_NOPULL;
  GPIO_InitStruct.Speed = GPIO_SPEED_FREQ_LOW;
  HAL_GPIO_Init(LED_CPU_GPIO_Port, &GPIO_InitStruct);

}

/* USER CODE BEGIN 4 */
void	VariableInit()
{
	int i;

	bPCCommFailCnt = 0;
	FPCCommFail = RESET;

	CommPCMode = PC_PROGRAM;
	CommPCMode = HYPER_TERMINAL;
	initEquipVar();
	isotonicLoad = 2000;

	Spi2_txBuff[0] = 0xAA;
	for(i=1;i<10;i++)
	{
		Spi2_txBuff[i] = 0xFF;
	}
	InitSensorRegisterData();
	FlInitSensorCal = SET;

	ServoSpdModeOff();

}
// 1msec
void makeTimeTick(void)
{
	static int i1msecCnt;
	int idx;

	if ((i1msecCnt%2) == 0)  {
		f2msecTick = SET;
	}
	if (bAlmRstCnt) {
		bAlmRstCnt--;
	}

	idx = i1msecCnt%5;
	if ((i1msecCnt%5) == 0)  {
		f5msecTick = SET;
	}
	else if (idx == 1)	{
		fForceCalcTick=SET;
	}
	else if (idx == 3 )
	{
		fForceCalcTick=SET;
//		Uart1_TransmitStart(6);
//		if (DebugOutIdx ==4)  rDBGU_THR = '=';
	}

	if ((i1msecCnt%10) == 0)  {
		f10msecTick = SET;
	}
	if ((i1msecCnt%iLEDTogglCnt) == 0)  {
		fLEDToggleTick = SET;
	}
	i1msecCnt++;
	i1msecCnt %= 10000;
	iCPUTick1msecCnt++;

	if (Uart1TimeoutCnt < 1000){
		Uart1TimeoutCnt++;
	}
	if (bCntEOF < 0xFF) {
		bCntEOF++;
	}
	// Inverter 통신단절 체크
	if(ModCommDisconTimer < MOD_COMM_DISCONN_CHK_TIME )
	{
		fModCommFail = RESET;
		ModCommDisconTimer++;
	}
	else
	{
		fModCommFail = SET;				// 통신단절됨
	}

	if (ServoStateTimeoutCnt < USHRT_MAX) {
		ServoStateTimeoutCnt++;
	}
}

/***********************************************************
	Input :
		U16 wPulseNum : 발생시켜야 할 총 펄스 수
	Return :
		U16 :총 발생시킨 펄스 수
*************************************************************/

const UWORD wPulsePattern[9] =
	{
		0x0000,
		0x8000,
		0xA000,
		0xA800,
		0xAA00,
		0xAA80,
		0xAAA0,
		0xAAA8,
		0xAAAA
	};
BYTE bPulsePattern[18] =
	{
		0x00,	// 0
		0x00,
		0x02,	// 1
		0x00,
		0x02,	// 2
		0x02,
		0x02,	// 3
		0x50,
		0x22,	// 4
		0x22,
		0x50,	// 5
		0x52,
		0x52,	// 6
		0x52,
		0x55,	// 7
		0x52,
		0x55,	// 8
		0x55
	};
int Pulse_Out(ULONG lPulseNum)
{
	int i;

	if (lPulseNum > 8 ) {
		i = 8;
	}
	else {
		i = (int)lPulseNum;
	}
	HAL_SPI_Transmit(&hspi1,bPulsePattern+i*2,1,0);
	return i;
}

//#define  PULSE_TRAIN_NO		50	// 5msec주기 펄스 지령 update, 100usec단위 펄스 출력
#define  PULSE_TRAIN_NO		100	// 5msec주기 펄스 지령 update, 50usec단위 펄스 출력, 5msec마다 Pulse Out수행 회수

// lServoPulseAddCnt : 외부에서 추가적으로 발생한 위치 지령(펄스 수)
// lPulseCnt : 최종 남은 출력 펄스 수
// PlsTrainCnt : lServoPulseAddCnt를 모두 소모하기 위한 펄스 트레인 수
// RgrPulseCnt : 5msec당 출력해야 하는 펄스 수
// RemainPulse : 마지막 펄스 5msec주기에서 출력해야 하는 나머지 펄스 수
// lServoPulseAddCnt 최대값  800 :
//		5msec주기로 지령이 나가고 100usec단위로 최대 8개 펄스가 나가기 때문에 8*PULSE_TRAIN_NO
void outServoPulse( void )
{
	static short RgrPulseCnt, RgrPulseCompenPeriod,RemainPulse;
	static short PlsTrainCnt, PlsRemainIntvl;
	int iPulseOut;
	char SendingPulse;
//	lServoPulseAddCnt = 8;
	if (lServoPulseAddCnt != 0) {	// 추가 펄스 카운트가 발생하면
		if (abs(lServoPulseAddCnt - lServoPulseAddCntPrev) > SERVO_MAX_PULSE)
		{
			lPulseCnt = abs(lServoPulseAddCntPrev) + SERVO_MAX_PULSE;
		}
		else
		{
			lPulseCnt = abs(lServoPulseAddCnt);
		}
		PlsRemainIntvl = 0;
		PlsTrainCnt = 0;
		RgrPulseCnt = lPulseCnt/PULSE_TRAIN_NO;
		RemainPulse = lPulseCnt%PULSE_TRAIN_NO;
		RgrPulseCompenPeriod = 0;
		if (RemainPulse)
		{
			RgrPulseCompenPeriod = PULSE_TRAIN_NO/RemainPulse;
		}
		if (lServoPulseAddCnt > 0)
		{
			fMotorDir = SERVO_FWD;
		}
		else if (lServoPulseAddCnt < 0)
		{
			fMotorDir = SERVO_BWD;
		}
		setMotorDir (fMotorDir);
		lServoPulseAddCntPrev = lServoPulseAddCnt;
		lServoPulseAddCnt = 0;
	}

	if ((PlsRemainIntvl == 0) && (RemainPulse > 0))
	{
		SendingPulse = RgrPulseCnt + 1;
		RemainPulse--;
	}
	else
	{
		SendingPulse = RgrPulseCnt;
	}

	PlsRemainIntvl++;
	if (PlsRemainIntvl >= RgrPulseCompenPeriod)
	{
		PlsRemainIntvl = 0;
	}

	if (PlsTrainCnt < PULSE_TRAIN_NO)
	{
		iPulseOut = Pulse_Out(SendingPulse);

		lTotalPositionCountOut += fMotorDir*iPulseOut;
		lPulseCnt -= iPulseOut ;
		PlsTrainCnt++;
	}
//	else //연속운전
//	{
//		lServoPulseAddCnt = lServoPulseAddCntPrev;
//	}
}

#define LOAD_SENSOR_NUM	4
#define POS_SENSOR_NUM	6

BYTE bSensorBoardStatus;
//WORD wLoadSensorData[LOAD_SENSOR_NUM];
//WORD wPosSensorData[POS_SENSOR_NUM];
//UINT wPosSensorData[POS_SENSOR_NUM];
BYTE bSensorCmd;

/*
void PosSensorProc()
{
	static int  out[6];
	static int  prev[6];
	int iTemp,iTemp2;
	int tIndex;
	int iMidGap;
	int i;

	if (fPosSensorReceived == SET) {
		fPosSensorReceived = RESET;

		tIndex = bPosSensorChannelIndex ;
		if (((bRcvData[0] ^ bRcvData[2]) == 0xFF) && ((bRcvData[1] ^ bRcvData[3]) == 0xFF)) {
			iTemp = bRcvData[0]*0x100+bRcvData[1];
			iTemp = iTemp>>2;

			PosSensorDataORG[tIndex] = iTemp;
			iMidGap = 8192 - posSensorOrgOffset[tIndex];
			if (iMidGap> 0) {
				iTemp += ( (iTemp-iMidGap) <= 0) ? (16384-iMidGap) : 0-iMidGap;
			}
			else {
				iTemp += ( (iTemp-iMidGap) >= 16384) ? (0-iMidGap-16384) : 0-iMidGap;
			}

			if (FlFilterInit)
			{
				out[tIndex] = iTemp*4096;
				bPosSensorData[tIndex]= prev[tIndex] = iTemp;
			}
			else if (abs(iTemp-prev[tIndex]) < POS_DEV_LIMIT )
			{
				LPF (&out[tIndex], iTemp, &prev[tIndex], -600);
				bPosSensorData[tIndex] = out[tIndex] /4096 ;      //  4096 = 2^LPF_SHIFT
			}
			else
			{
				bPosSensorData[tIndex]= prev[tIndex];
			}

		}

		if (tIndex == 0)
		{
			PosSensorData[0] = bPosSensorData[0];
		}
		else if (tIndex == 1)
		{

			if (bPosSensorData[1] <= SensorCalDataR_LP[0][0] )	{
				PosSensorData[1] = SensorCalDataR_LP[1][0];
			}
			else if (bPosSensorData[1] >= SensorCalDataR_LP[0][CAL_DATA_NO-1] )  {
				PosSensorData[1] = SensorCalDataR_LP[1][CAL_DATA_NO-1];
			}
			else {
				for ( i = 1; i<CAL_DATA_NO; i++)
				{
					if ((bPosSensorData[1] < SensorCalDataR_LP[0][i] ) && (bPosSensorData[1] >= SensorCalDataR_LP[0][i-1] ))
					{
						iTemp = SensorCalDataR_LP[1][i-1] + (int)((float)((float)(bPosSensorData[1]-SensorCalDataR_LP[0][i-1])
						        *(float)(SensorCalDataR_LP[1][i]-SensorCalDataR_LP[1][i-1])
						        /(float)(SensorCalDataR_LP[0][i]-SensorCalDataR_LP[0][i-1])));
						PosSensorData[1] = iTemp;
					}
				}
			}
			PosSensorData[1] += SensorCalFineOffset[0] ;
		}
		else if (tIndex == 2)
		{
			if (bPosSensorData[2] <= SensorCalDataR_LE[0][0] )	{
				PosSensorData[2] = SensorCalDataR_LE[1][0];
			}
			else if (bPosSensorData[2] >= SensorCalDataR_LE[0][CAL_DATA_NO-1] )  {
				PosSensorData[2] = SensorCalDataR_LE[1][CAL_DATA_NO-1];
			}
			else {
				for ( i = 1; i<CAL_DATA_NO; i++)
				{
					if ((bPosSensorData[2] < SensorCalDataR_LE[0][i] ) && (bPosSensorData[2] >= SensorCalDataR_LE[0][i-1] ))
					{
						iTemp = SensorCalDataR_LE[1][i-1] + (int)((float)((float)(bPosSensorData[2]-SensorCalDataR_LE[0][i-1])
						        *(float)(SensorCalDataR_LE[1][i]-SensorCalDataR_LE[1][i-1])
						        /(float)(SensorCalDataR_LE[0][i]-SensorCalDataR_LE[0][i-1])));
						PosSensorData[2] = iTemp;
					}
				}
			}
			PosSensorData[2] += SensorCalFineOffset[1] ;

		}
		else if (tIndex == 3)
		{
			PosSensorData[3] = bPosSensorData[3];
		}
		else if (tIndex == 4)
		{
			if (bPosSensorData[4] <= SensorCalDataL_LP[0][0] )	{
				PosSensorData[4] = SensorCalDataL_LP[1][0];
			}
			else if (bPosSensorData[4] >= SensorCalDataL_LP[0][CAL_DATA_NO-1] )  {
				PosSensorData[4] = SensorCalDataL_LP[1][CAL_DATA_NO-1];
			}
			else {
				for ( i = 1; i<CAL_DATA_NO; i++)
				{
					if ((bPosSensorData[4] < SensorCalDataL_LP[0][i] ) && (bPosSensorData[4] >= SensorCalDataL_LP[0][i-1] ))
					{
						iTemp = SensorCalDataL_LP[1][i-1] + (int)((float)((float)(bPosSensorData[4]-SensorCalDataL_LP[0][i-1])
						        *(float)(SensorCalDataL_LP[1][i]-SensorCalDataL_LP[1][i-1])
						        /(float)(SensorCalDataL_LP[0][i]-SensorCalDataL_LP[0][i-1])));
						PosSensorData[4] = iTemp;
					}
				}
			}
			PosSensorData[4] += SensorCalFineOffset[2] ;

		}
		else if (tIndex == 5)
		{
			if (bPosSensorData[5] <= SensorCalDataL_LE[0][0] )	{
				PosSensorData[5] = SensorCalDataL_LE[1][0];
			}
			else if (bPosSensorData[5] >= SensorCalDataL_LE[0][CAL_DATA_NO-1] )  {
				PosSensorData[5] = SensorCalDataL_LE[1][CAL_DATA_NO-1];
			}
			else {
				for ( i = 1; i<CAL_DATA_NO; i++)
				{
					if ((bPosSensorData[5] < SensorCalDataL_LE[0][i] ) && (bPosSensorData[5] >= SensorCalDataL_LE[0][i-1] ))
					{
						iTemp = SensorCalDataL_LE[1][i-1] + (int)((float)((float)(bPosSensorData[5]-SensorCalDataL_LE[0][i-1])
						        *(float)(SensorCalDataL_LE[1][i]-SensorCalDataL_LE[1][i-1])
						        /(float)(SensorCalDataL_LE[0][i]-SensorCalDataL_LE[0][i-1])));
						PosSensorData[5] = iTemp;
					}
				}
			}
			PosSensorData[5] += SensorCalFineOffset[3] ;

		}

//		PosSensorData[tIndex] = bPosSensorData[tIndex];
//		PosSensorEnable(tIndex);
	}
}
*/

#define ESTOP_FILTER_NUM 	5

void SystemIOProcess(void)
{
	static int iEstopPortStateCnt;

//	if (bAlmRstCnt) {
//		ServoSVAlarmRstOn();
//	}
//	else {
//		ServoSVAlarmRstOff();
//	}
//	if (IS_SERVO_ALM) {
//		SysStatus.var.StatusR = SYS_ERROR;
//	}

	if (getEstopState()) {
		if (iEstopPortStateCnt < ESTOP_FILTER_NUM){
			iEstopPortStateCnt++;
		}
		else {
			SysStatus.var.Estop = 1;
		}
	}
	else {
		if (iEstopPortStateCnt){
			iEstopPortStateCnt--;
		}
		else {
			SysStatus.var.Estop = 0;
		}
	}
}

void	Uart1_TransmitStart(BYTE *bTxBuff, BYTE bFrameSize)
{
	HAL_UART_IRQHandler(&huart1);
	HAL_UART_Transmit_DMA(&huart1,bTxBuff,bFrameSize);
}

void	Uart2_TransmitStart(BYTE *bTxBuff, BYTE bFrameSize)
{
	HAL_UART_IRQHandler(&huart2);
	HAL_UART_Transmit_DMA(&huart2,bTxBuff,bFrameSize);
}

void	Uart3_TransmitStart(BYTE *bTxBuff, BYTE bFrameSize)
{
	HAL_UART_IRQHandler(&huart3);
	HAL_UART_Transmit_DMA(&huart3,bTxBuff,bFrameSize);
}

/*
void	Uart6_TransmitStart(BYTE *bTxBuff, BYTE bFrameSize)
{
	HAL_UART_IRQHandler(&huart6);
	HAL_UART_Transmit_DMA(&huart6,bTxBuff,bFrameSize);
}
*/

BOOL IsUart2Received()
{
	BOOL fRet;

	if (fUart2Received)
	{
		fUart2Received = 0;
		fRet = SET;
	}
	else
		fRet = 0;

	return fRet;
}
BOOL IsUart6Received()
{
	BOOL fRet;

	if (fUart6Received)
	{
		fUart6Received = 0;
		fRet = SET;
	}
	else
		fRet = 0;

	return fRet;
}

void Isr_Uart1(BYTE tmpChar)
{
	switch (commRcvState) {
		case COMM_IDLING:						// First byte is address
			if (tmpChar == MOD_PROT_STATION_ID) {
				Uart1_rxBuffIndex = 0;					// first message come
				Uart1_rxBuff[Uart1_rxBuffIndex++] = tmpChar;	// 수신 데이터를 버퍼에 저장
				commRcvState = COMM_RECEIVING;
			}
			else
				commRcvState = COMM_IGNORING;   // this is not my address
											// waiting til end-of-frame
			bCntEOF=0;						// 4 character timer start.
			break;

		case COMM_RECEIVING:
			if (Uart1_rxBuffIndex < COMM_BUFF_SIZE) {
				Uart1_rxBuff[Uart1_rxBuffIndex++] = tmpChar;	// 수신 데이터를 버퍼에 저장
				bCntEOF=0;
			}
			else {
				commRcvState = COMM_IGNORING;
			}
			break;

		case COMM_IGNORING:		// Only wait EOF is come and back to the IDLING State
			bCntEOF=0;
			break;

		default:
			break;
	}
}
/* USER CODE END 4 */

void _Error_Handler(char * file, int line)
{
  while(1)
  {
  }
}

/************************ (C) COPYRIGHT STMicroelectronics *****END OF FILE****/
